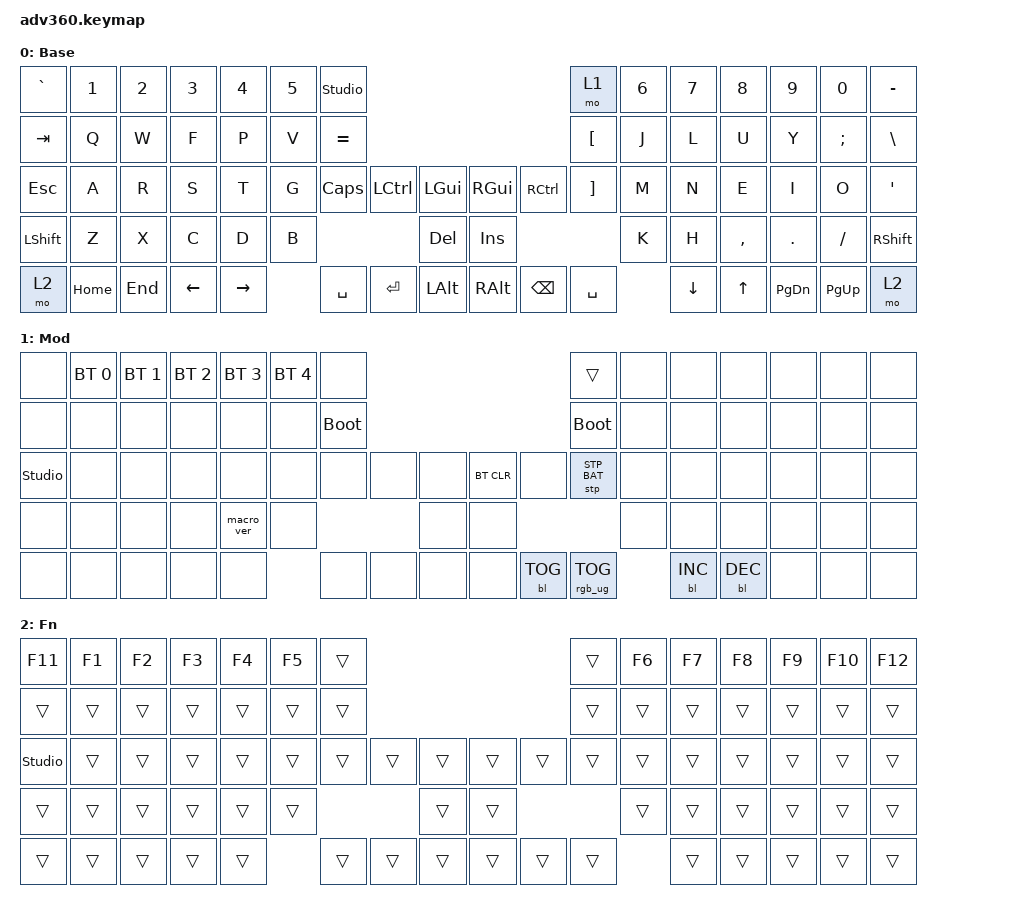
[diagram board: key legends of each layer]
#include <dt-bindings/zmk/stp.h>

#define ZMK_POINTING_DEFAULT_MOVE_VAL 1000  // default: 600

//#define ZMK_POINTING_DEFAULT_SCRL_VAL 20    // default: 10

#include <behaviors.dtsi>
#include <dt-bindings/zmk/backlight.h>
#include <dt-bindings/zmk/bt.h>
#include <dt-bindings/zmk/keys.h>
#include <dt-bindings/zmk/rgb.h>

&mmv {
    time-to-max-speed-ms = <200>;
    trigger-period-ms = <20>;
};

/ {
    behaviors {
        #include "macros.dtsi"
      #include "version.dtsi"

        hm: homerow_modsL {
            compatible = "zmk,behavior-hold-tap";
            label = "HOMEROW_MODSL";
            #binding-cells = <2>;
            tapping-term-ms = <250>;
            quick_tap_ms = <175>;
            flavor = "balanced";
            bindings = <&kp>, <&kp>;

            require-prior-idle-ms = <100>;
            hold-trigger-on-release;
            hold-trigger-key-positions = <7 21 40 39 54 8 22 9 23 41 55 71 10 24 42 56 72 25 11 43 57 73 12 26 44 58 74 75 59 45 27 13 38 37 53 68 69 70>;
        };

        hmr: hmr {
            compatible = "zmk,behavior-hold-tap";
            label = "HMR";
            #binding-cells = <2>;
            tapping-term-ms = <250>;
            quick_tap_ms = <175>;
            flavor = "balanced";
            bindings = <&kp>, <&kp>;

            require-prior-idle-ms = <200>;
            hold-trigger-on-release;
            hold-trigger-key-positions = <0 0 14 28 46 60 1 2 3 4 5 6 15 16 17 18 19 20 29 30 31 32 33 34 35 36 47 48 49 50 51 52 61 62 63 64 65 66 67>;
        };
    };

    keymap {
        compatible = "zmk,keymap";

        default_layer {
            display-name = "Base";
            bindings = <
&kp GRAVE  &kp N1    &kp N2   &kp N3    &kp N4     &kp N5  &studio_unlock                                                             &mo 1              &kp N6  &kp N7    &kp N8        &kp N9         &kp N0         &kp MINUS
&kp TAB    &kp Q     &kp W    &kp F     &kp P      &kp V   &kp EQUAL                                                                  &kp LEFT_BRACKET   &kp J   &kp L     &kp U         &kp Y          &kp SEMICOLON  &kp BSLH
&kp ESC    &kp A     &kp R    &kp S     &kp T      &kp G   &kp CAPS        &kp LCTRL  &kp LGUI          &kp RGUI       &kp RCTRL      &kp RIGHT_BRACKET  &kp M   &kp N     &kp E         &kp I          &kp O          &kp SQT
&kp LSHFT  &kp Z     &kp X    &kp C     &kp D      &kp B                              &kp DELETE        &kp INS                                          &kp K   &kp H     &kp COMMA     &kp PERIOD     &kp FSLH       &kp RSHFT
&mo 2      &kp HOME  &kp END  &kp LEFT  &kp RIGHT          &kp SPACE       &kp ENTER  &kp LEFT_ALT      &kp RIGHT_ALT  &kp BACKSPACE  &kp SPACE                  &kp DOWN  &kp UP_ARROW  &kp PAGE_DOWN  &kp PAGE_UP    &mo 2
            >;
        };

        mod {
            display-name = "Mod";
            bindings = <
&none           &bt BT_SEL 0  &bt BT_SEL 1  &bt BT_SEL 2  &bt BT_SEL 3  &bt BT_SEL 4  &none                                                  &trans           &none  &none       &none       &none  &none  &none
&none           &none         &none         &none         &none         &none         &bootloader                                            &bootloader      &none  &none       &none       &none  &none  &none
&studio_unlock  &none         &none         &none         &none         &none         &none        &none  &none      &bt BT_CLR  &none       &stp STP_BAT     &none  &none       &none       &none  &none  &none
&none           &none         &none         &none         &macro_ver    &none                             &none      &none                                    &none  &none       &none       &none  &none  &none
&none           &none         &none         &none         &none                       &none        &none  &none      &none       &bl BL_TOG  &rgb_ug RGB_TOG         &bl BL_INC  &bl BL_DEC  &none  &none  &none
            >;
        };

        Fn {
            bindings = <
&kp F11         &kp F1  &kp F2  &kp F3  &kp F4  &kp F5  &trans                                      &trans  &kp F6  &kp F7  &kp F8  &kp F9  &kp F10  &kp F12
&trans          &trans  &trans  &trans  &trans  &trans  &trans                                      &trans  &trans  &trans  &trans  &trans  &trans   &trans
&studio_unlock  &trans  &trans  &trans  &trans  &trans  &trans  &trans  &trans      &trans  &trans  &trans  &trans  &trans  &trans  &trans  &trans   &trans
&trans          &trans  &trans  &trans  &trans  &trans                  &trans      &trans                  &trans  &trans  &trans  &trans  &trans   &trans
&trans          &trans  &trans  &trans  &trans          &trans  &trans  &trans      &trans  &trans  &trans          &trans  &trans  &trans  &trans   &trans
            >;
        };
    };
};
